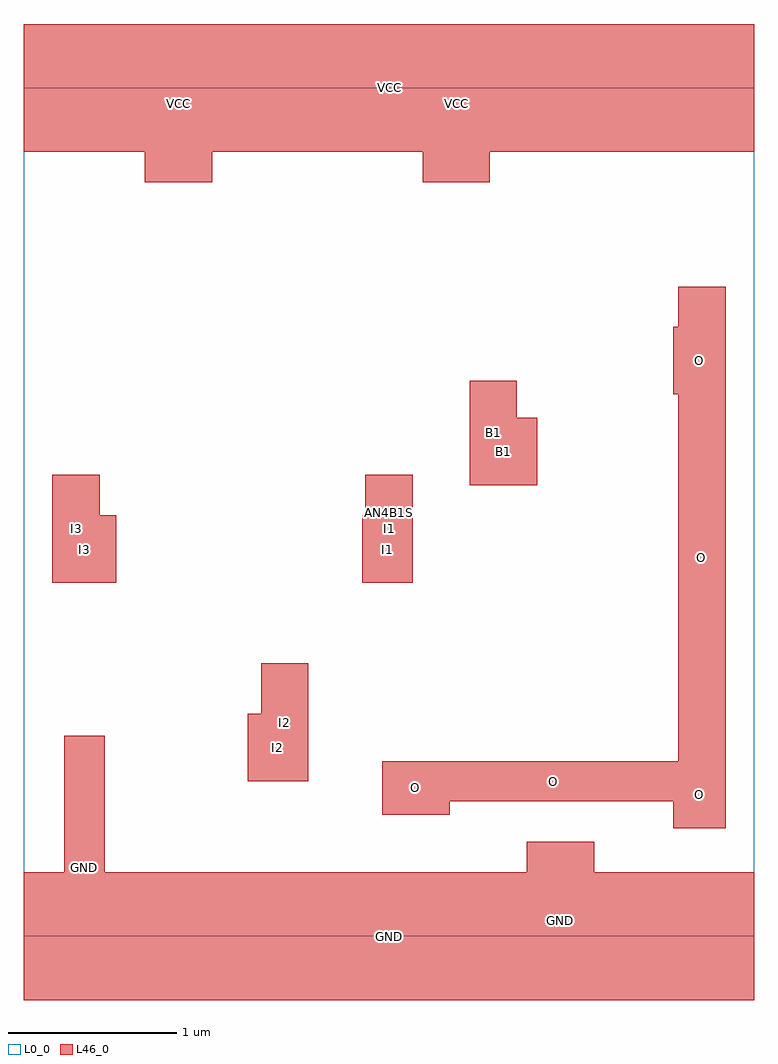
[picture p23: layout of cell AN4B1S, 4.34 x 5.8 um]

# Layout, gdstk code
import gdstk
lib = gdstk.Library(unit=1e-6, precision=1e-09)
def R(c, l, rs):  # rectangles x0, y0, x1, y1
    for r in rs: c.add(gdstk.rectangle(r[:2], r[2:], *l))
L0_0 = (0, 0)
L46_0 = (46, 0)

an4b1s = lib.new_cell('AN4B1S')
R(an4b1s, L0_0, [(0,0,4.34,5.04)])
R(an4b1s, L46_0, [(0,-0.38,4.34,0.38), (0.24,-0.38,0.48,1.19), (2.99,-0.38,3.39,0.56), (3.86,0.64,4.17,1.04), (3.89,0.64,4.17,3.86), (2.13,0.72,2.53,1.04), (2.13,0.8,4.17,1.04), (1.33,0.92,1.69,1.32), (1.41,0.92,1.69,1.62), (0.17,2.1,0.45,2.74), (0.17,2.1,0.55,2.5), (2.01,2.1,2.31,2.5), (2.03,2.1,2.31,2.74), (2.65,2.68,3.05,3.08), (2.65,2.68,2.93,3.3), (3.86,3.22,4.17,3.62), (0.72,4.48,1.12,5.42), (2.37,4.48,2.77,5.42), (0,4.66,4.34,5.42)])
an4b1s.add(gdstk.Label('AN4B1S', (2.17,2.52), layer=0, texttype=0))
an4b1s.add(gdstk.Label('O', (4.015,0.84), layer=101, texttype=0))
an4b1s.add(gdstk.Label('O', (3.15,0.92), layer=101, texttype=0))
an4b1s.add(gdstk.Label('O', (4.015,3.42), layer=101, texttype=0))
an4b1s.add(gdstk.Label('O', (4.03,2.25), layer=101, texttype=0))
an4b1s.add(gdstk.Label('O', (2.33,0.88), layer=101, texttype=0))
an4b1s.add(gdstk.Label('I2', (1.55,1.27), layer=101, texttype=0))
an4b1s.add(gdstk.Label('I2', (1.51,1.12), layer=101, texttype=0))
an4b1s.add(gdstk.Label('I1', (2.17,2.42), layer=101, texttype=0))
an4b1s.add(gdstk.Label('I1', (2.16,2.3), layer=101, texttype=0))
an4b1s.add(gdstk.Label('B1', (2.85,2.88), layer=101, texttype=0))
an4b1s.add(gdstk.Label('B1', (2.79,2.99), layer=101, texttype=0))
an4b1s.add(gdstk.Label('I3', (0.36,2.3), layer=101, texttype=0))
an4b1s.add(gdstk.Label('I3', (0.31,2.42), layer=101, texttype=0))
an4b1s.add(gdstk.Label('GND', (3.19,0.09), layer=101, texttype=0))
an4b1s.add(gdstk.Label('GND', (2.17,0), layer=101, texttype=0))
an4b1s.add(gdstk.Label('GND', (0.36,0.405), layer=101, texttype=0))
an4b1s.add(gdstk.Label('VCC', (2.57,4.95), layer=101, texttype=0))
an4b1s.add(gdstk.Label('VCC', (2.17,5.04), layer=101, texttype=0))
an4b1s.add(gdstk.Label('VCC', (0.92,4.95), layer=101, texttype=0))

lib.write_gds('AN4B1S.gds')
